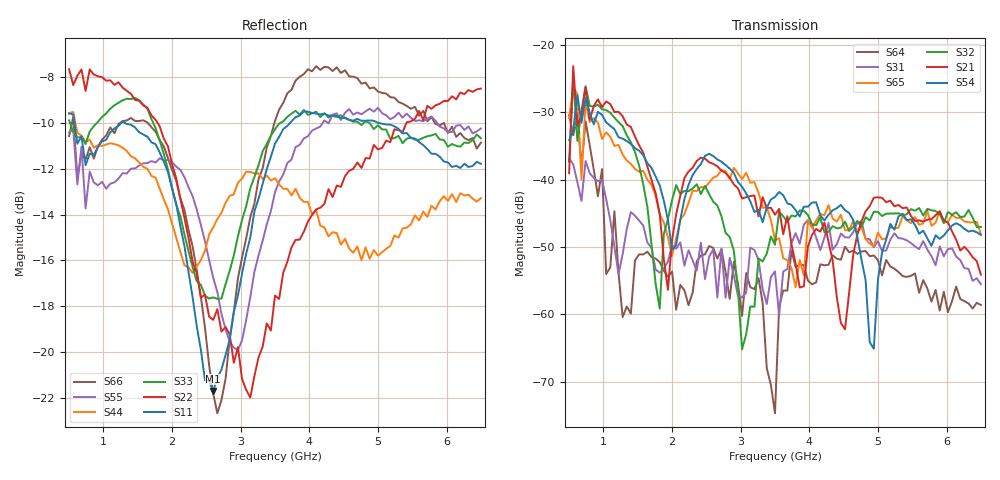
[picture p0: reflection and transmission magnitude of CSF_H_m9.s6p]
!Keysight Technologies,M9804A,MY58100912,A.14.10.03
!Date: Thursday, April 27, 2023 10:28:33
!Correction: S11(C  6-Port  )
!S12(C  6-Port  )
!S13(C  6-Port  )
!S14(C  6-Port  )
!S15(C  6-Port  )
!S16(C  6-Port  )
!S21(C  6-Port  )
!S22(C  6-Port  )
!S23(C  6-Port  )
!S24(C  6-Port  )
!S25(C  6-Port  )
!S26(C  6-Port  )
!S31(C  6-Port  )
!S32(C  6-Port  )
!S33(C  6-Port  )
!S34(C  6-Port  )
!S35(C  6-Port  )
!S36(C  6-Port  )
!S41(C  6-Port  )
!S42(C  6-Port  )
!S43(C  6-Port  )
!S44(C  6-Port  )
!S45(C  6-Port  )
!S46(C  6-Port  )
!S51(C  6-Port  )
!S52(C  6-Port  )
!S53(C  6-Port  )
!S54(C  6-Port  )
!S55(C  6-Port  )
!S56(C  6-Port  )
!S61(C  6-Port  )
!S62(C  6-Port  )
!S63(C  6-Port  )
!S64(C  6-Port  )
!S65(C  6-Port  )
!S66(C  6-Port  )
!S6P File: Measurement: :
# Hz S  RI  R 50
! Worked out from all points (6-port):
!   101 points, 500 MHz to 6.5 GHz, reference 50 ohm
!   strongest paths, dB at 500 MHz, 2 GHz, 3.5 GHz, 5 GHz, 6.5 GHz:
!     S54: -34.1, -50.4, -42.6, -54.8, -48.2
!     S21: -39.0, -49.0, -45.2, -42.6, -54.1
!     S32: -37.3, -43.0, -49.6, -44.8, -47.0
!     S65: -30.9, -51.3, -49.0, -47.8, -48.1
!     S31: -36.8, -49.7, -53.6, -49.1, -55.5
!     S64: -30.5, -53.6, -74.7, -51.9, -58.6
!   lowest |S11| = -21.7 dB at 2.6 GHz (marker M1), VSWR 1.18, Z = 42.7 + j2.03 ohm
!   |S11| at or under -10 dB: 577.9 MHz to 1.257 GHz (679.4 MHz wide, 74 % of centre); 1.319 GHz to 3.717 GHz (2.397 GHz wide, 95.2 % of centre); 5.019 GHz to end of sweep
